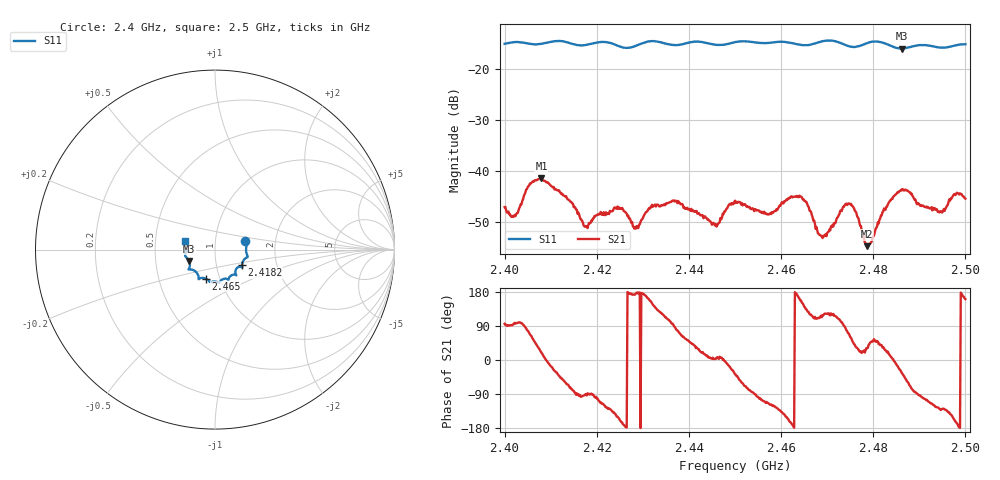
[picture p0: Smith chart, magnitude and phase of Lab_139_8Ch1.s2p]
# Hz S RI R 50
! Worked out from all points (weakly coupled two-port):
!   601 points, 2.4 GHz to 2.5 GHz, reference 50 ohm
!   highest |S21| = -41.50 dB at 2.408 GHz (marker M1); lowest = -54.8 dB at 2.4787 GHz (marker M2)
!   lowest |S11| = -16.1 dB at 2.4862 GHz (marker M3), VSWR 1.37, Z = 37.2 - j4.81 ohm
!   |S11| at or under -10 dB: start of sweep to end of sweep
!   S12 and S22 are empty: the file has one direction only
!   S11 on the Smith chart (normalised r, x): 2.4 GHz: 1.40, +0.14; 2.4182 GHz: 1.33, -0.23; 2.465 GHz: 0.86, -0.28; 2.5 GHz: 0.71, +0.07
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2.4e9  0.1687 0.047  -0.000418 0.00438  0 0  0 0
2.402333e9  0.1784 0.0362  -0.000359 0.00357  0 0  0 0
2.405167e9  0.175 0.0176  0.00182 0.00684  0 0  0 0
2.408e9  0.1745 -0.0158  0.00795 0.00277  0 0  0 0
2.416667e9  0.1545 -0.0684  -0.00038 -0.0033  0 0  0 0
2.418167e9  0.1499 -0.0853  -2.01e-05 -0.00295  0 0  0 0
2.424333e9  0.1402 -0.095  -0.00365 -0.00216  0 0  0 0
2.4285e9  0.113 -0.1239  -0.00271 0.000199  0 0  0 0
2.433333e9  0.1174 -0.1409  -0.00302 0.00352  0 0  0 0
2.437167e9  0.0894 -0.1448  0.00068 0.00497  0 0  0 0
2.446e9  0.0534 -0.1622  0.00283 0.000288  0 0  0 0
2.45e9  0.0262 -0.1799  0.00403 -0.00312  0 0  0 0
2.457333e9  -0.0122 -0.1783  -0.00157 -0.00339  0 0  0 0
2.465e9  -0.0524 -0.1612  -0.00398 0.00318  0 0  0 0
2.466667e9  -0.071 -0.1575  -0.00167 0.00328  0 0  0 0
2.469333e9  -0.0899 -0.1638  -0.00118 0.00195  0 0  0 0
2.475e9  -0.1009 -0.1301  0.00231 0.00411  0 0  0 0
2.478667e9  -0.1394 -0.1108  0.00157 0.000938  0 0  0 0
2.483333e9  -0.1411 -0.0966  0.00462 0.00145  0 0  0 0
2.486167e9  -0.1438 -0.0631  0.00548 -0.00361  0 0  0 0
2.4945e9  -0.1608 -0.00306  -0.00256 -0.00308  0 0  0 0
2.5e9  -0.1666 0.047  -0.00502 0.00176  0 0  0 0
